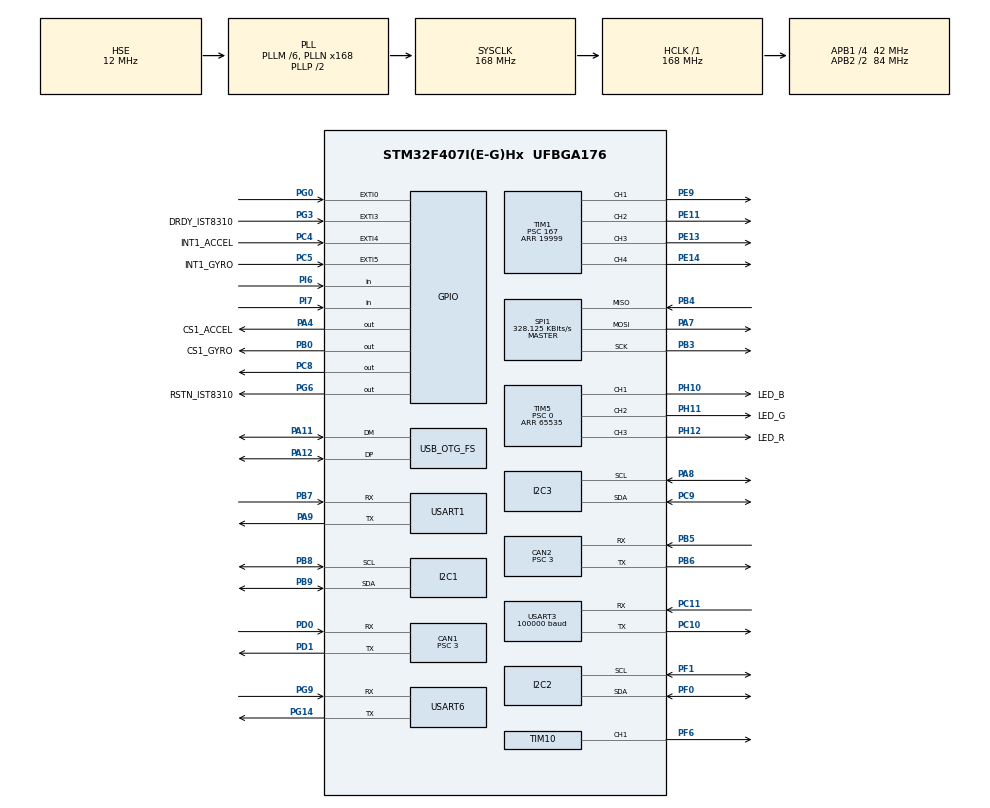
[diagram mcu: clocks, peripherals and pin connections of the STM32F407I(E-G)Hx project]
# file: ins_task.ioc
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CAN1.BS1=CAN_BS1_10TQ
CAN1.BS2=CAN_BS2_3TQ
CAN1.CalculateBaudRate=1000000
CAN1.CalculateTimeBit=1000
CAN1.CalculateTimeQuantum=71.42857142857143
CAN1.Prescaler=3
CAN2.BS1=CAN_BS1_10TQ
CAN2.BS2=CAN_BS2_3TQ
CAN2.CalculateBaudRate=1000000
CAN2.CalculateTimeBit=1000
CAN2.CalculateTimeQuantum=71.42857142857143
CAN2.Prescaler=3
Dma.I2C2_TX.6.Direction=DMA_MEMORY_TO_PERIPH
Dma.I2C2_TX.6.FIFOMode=DMA_FIFOMODE_DISABLE
Dma.I2C2_TX.6.Instance=DMA1_Stream7
Dma.I2C2_TX.6.MemDataAlignment=DMA_MDATAALIGN_BYTE
Dma.I2C2_TX.6.MemInc=DMA_MINC_ENABLE
Dma.I2C2_TX.6.Mode=DMA_NORMAL
Dma.I2C2_TX.6.PeriphDataAlignment=DMA_PDATAALIGN_BYTE
Dma.I2C2_TX.6.PeriphInc=DMA_PINC_DISABLE
Dma.I2C2_TX.6.Priority=DMA_PRIORITY_HIGH
Dma.Request0=SPI1_RX
Dma.Request1=SPI1_TX
Dma.Request2=USART1_TX
Dma.Request3=USART3_RX
Dma.Request4=USART6_RX
Dma.Request5=USART6_TX
Dma.Request6=I2C2_TX
Dma.Request7=USART1_RX
Dma.SPI1_RX.0.Direction=DMA_PERIPH_TO_MEMORY
Dma.SPI1_RX.0.FIFOMode=DMA_FIFOMODE_DISABLE
Dma.SPI1_RX.0.Instance=DMA2_Stream2
Dma.SPI1_RX.0.MemDataAlignment=DMA_MDATAALIGN_BYTE
Dma.SPI1_RX.0.MemInc=DMA_MINC_ENABLE
Dma.SPI1_RX.0.Mode=DMA_NORMAL
Dma.SPI1_RX.0.PeriphDataAlignment=DMA_PDATAALIGN_BYTE
Dma.SPI1_RX.0.PeriphInc=DMA_PINC_DISABLE
Dma.SPI1_RX.0.Priority=DMA_PRIORITY_VERY_HIGH
Dma.SPI1_TX.1.Direction=DMA_MEMORY_TO_PERIPH
Dma.SPI1_TX.1.FIFOMode=DMA_FIFOMODE_DISABLE
Dma.SPI1_TX.1.Instance=DMA2_Stream3
Dma.SPI1_TX.1.MemDataAlignment=DMA_MDATAALIGN_BYTE
Dma.SPI1_TX.1.MemInc=DMA_MINC_ENABLE
Dma.SPI1_TX.1.Mode=DMA_NORMAL
Dma.SPI1_TX.1.PeriphDataAlignment=DMA_PDATAALIGN_BYTE
Dma.SPI1_TX.1.PeriphInc=DMA_PINC_DISABLE
Dma.SPI1_TX.1.Priority=DMA_PRIORITY_HIGH
Dma.USART1_RX.7.Direction=DMA_PERIPH_TO_MEMORY
Dma.USART1_RX.7.FIFOMode=DMA_FIFOMODE_DISABLE
Dma.USART1_RX.7.Instance=DMA2_Stream5
Dma.USART1_RX.7.MemDataAlignment=DMA_MDATAALIGN_BYTE
Dma.USART1_RX.7.MemInc=DMA_MINC_ENABLE
Dma.USART1_RX.7.Mode=DMA_NORMAL
Dma.USART1_RX.7.PeriphDataAlignment=DMA_PDATAALIGN_BYTE
Dma.USART1_RX.7.PeriphInc=DMA_PINC_DISABLE
Dma.USART1_RX.7.Priority=DMA_PRIORITY_MEDIUM
Dma.USART1_TX.2.Direction=DMA_MEMORY_TO_PERIPH
Dma.USART1_TX.2.FIFOMode=DMA_FIFOMODE_DISABLE
Dma.USART1_TX.2.Instance=DMA2_Stream7
Dma.USART1_TX.2.MemDataAlignment=DMA_MDATAALIGN_BYTE
Dma.USART1_TX.2.MemInc=DMA_MINC_ENABLE
Dma.USART1_TX.2.Mode=DMA_NORMAL
Dma.USART1_TX.2.PeriphDataAlignment=DMA_PDATAALIGN_BYTE
Dma.USART1_TX.2.PeriphInc=DMA_PINC_DISABLE
Dma.USART1_TX.2.Priority=DMA_PRIORITY_MEDIUM
Dma.USART3_RX.3.Direction=DMA_PERIPH_TO_MEMORY
Dma.USART3_RX.3.FIFOMode=DMA_FIFOMODE_DISABLE
Dma.USART3_RX.3.Instance=DMA1_Stream1
Dma.USART3_RX.3.MemDataAlignment=DMA_MDATAALIGN_BYTE
Dma.USART3_RX.3.MemInc=DMA_MINC_ENABLE
Dma.USART3_RX.3.Mode=DMA_NORMAL
Dma.USART3_RX.3.PeriphDataAlignment=DMA_PDATAALIGN_BYTE
Dma.USART3_RX.3.PeriphInc=DMA_PINC_DISABLE
Dma.USART3_RX.3.Priority=DMA_PRIORITY_HIGH
Dma.USART6_RX.4.Direction=DMA_PERIPH_TO_MEMORY
Dma.USART6_RX.4.FIFOMode=DMA_FIFOMODE_DISABLE
Dma.USART6_RX.4.Instance=DMA2_Stream1
Dma.USART6_RX.4.MemDataAlignment=DMA_MDATAALIGN_BYTE
Dma.USART6_RX.4.MemInc=DMA_MINC_ENABLE
Dma.USART6_RX.4.Mode=DMA_NORMAL
Dma.USART6_RX.4.PeriphDataAlignment=DMA_PDATAALIGN_BYTE
Dma.USART6_RX.4.PeriphInc=DMA_PINC_DISABLE
Dma.USART6_RX.4.Priority=DMA_PRIORITY_HIGH
Dma.USART6_TX.5.Direction=DMA_MEMORY_TO_PERIPH
Dma.USART6_TX.5.FIFOMode=DMA_FIFOMODE_DISABLE
Dma.USART6_TX.5.Instance=DMA2_Stream6
Dma.USART6_TX.5.MemDataAlignment=DMA_MDATAALIGN_BYTE
Dma.USART6_TX.5.MemInc=DMA_MINC_ENABLE
Dma.USART6_TX.5.Mode=DMA_NORMAL
Dma.USART6_TX.5.PeriphDataAlignment=DMA_PDATAALIGN_BYTE
Dma.USART6_TX.5.PeriphInc=DMA_PINC_DISABLE
Dma.USART6_TX.5.Priority=DMA_PRIORITY_MEDIUM
FREERTOS.INCLUDE_eTaskGetState=1
FREERTOS.INCLUDE_pcTaskGetTaskName=1
FREERTOS.INCLUDE_uxTaskGetStackHighWaterMark=1
FREERTOS.INCLUDE_vTaskCleanUpResources=1
FREERTOS.INCLUDE_vTaskDelayUntil=1
FREERTOS.INCLUDE_xEventGroupSetBitFromISR=1
FREERTOS.INCLUDE_xQueueGetMutexHolder=1
FREERTOS.INCLUDE_xSemaphoreGetMutexHolder=1
FREERTOS.INCLUDE_xTaskAbortDelay=1
FREERTOS.INCLUDE_xTaskGetCurrentTaskHandle=1
FREERTOS.INCLUDE_xTaskGetHandle=1
FREERTOS.INCLUDE_xTimerPendFunctionCall=1
FREERTOS.Tasks01=test,24,128,test_task,As weak,NULL,Dynamic,NULL,NULL
FREERTOS.configTOTAL_HEAP_SIZE=24576
I2C1.I2C_Mode=I2C_Fast
I2C2.I2C_Mode=I2C_Fast
I2C3.I2C_Mode=I2C_Fast
Mcu.Family=STM32F4
Mcu.Name=STM32F407I(E-G)Hx
Mcu.Package=UFBGA176
NVIC.CAN1_RX0_IRQn=true\:5\:0\:false\:false\:true\:true\:true\:true\:true
NVIC.CAN2_RX0_IRQn=true\:5\:0\:false\:false\:true\:true\:true\:true\:true
NVIC.DMA1_Stream1_IRQn=true\:5\:0\:false\:false\:true\:true\:false\:true\:true
NVIC.DMA1_Stream7_IRQn=true\:5\:0\:false\:false\:true\:true\:false\:true\:true
NVIC.DMA2_Stream1_IRQn=true\:5\:0\:false\:false\:true\:true\:false\:true\:true
NVIC.DMA2_Stream2_IRQn=true\:5\:0\:true\:false\:false\:true\:false\:true\:true
NVIC.DMA2_Stream3_IRQn=true\:5\:0\:true\:false\:false\:true\:false\:true\:true
NVIC.DMA2_Stream5_IRQn=true\:5\:0\:false\:false\:true\:true\:false\:true\:true
NVIC.DMA2_Stream6_IRQn=true\:5\:0\:false\:false\:true\:true\:false\:true\:true
NVIC.DMA2_Stream7_IRQn=true\:5\:0\:false\:false\:true\:true\:false\:true\:true
NVIC.EXTI0_IRQn=true\:6\:0\:true\:false\:true\:true\:true\:true\:true
NVIC.EXTI3_IRQn=true\:5\:0\:true\:false\:true\:true\:true\:true\:true
NVIC.EXTI4_IRQn=true\:5\:0\:true\:false\:true\:true\:true\:true\:true
NVIC.EXTI9_5_IRQn=true\:5\:0\:true\:false\:true\:true\:true\:true\:true
NVIC.OTG_FS_IRQn=true\:5\:0\:false\:false\:true\:true\:true\:true\:true
NVIC.PriorityGroup=NVIC_PRIORITYGROUP_4
NVIC.TIM8_TRG_COM_TIM14_IRQn=true\:15\:0\:false\:false\:true\:false\:false\:true\:true
NVIC.TimeBase=TIM8_TRG_COM_TIM14_IRQn
NVIC.TimeBaseIP=TIM14
NVIC.USART1_IRQn=true\:5\:0\:false\:false\:true\:true\:true\:true\:true
NVIC.USART3_IRQn=true\:5\:0\:false\:false\:true\:true\:true\:true\:true
NVIC.USART6_IRQn=true\:5\:0\:false\:false\:true\:true\:true\:true\:true
PA11.Mode=Device_Only
PA11.Signal=USB_OTG_FS_DM
PA12.Mode=Device_Only
PA12.Signal=USB_OTG_FS_DP
PA13.Mode=Serial_Wire
PA13.Signal=SYS_JTMS-SWDIO
PA14.Mode=Serial_Wire
PA14.Signal=SYS_JTCK-SWCLK
PA4.GPIO_Label=CS1_ACCEL
PA4.GPIO_PuPd=GPIO_PULLUP
PA4.GPIO_Speed=GPIO_SPEED_FREQ_HIGH
PA4.PinState=GPIO_PIN_SET
PA4.Signal=GPIO_Output
PA7.GPIO_PuPd=GPIO_PULLUP
PA7.Mode=Full_Duplex_Master
PA7.Signal=SPI1_MOSI
PA8.GPIO_Pu=GPIO_PULLUP
PA8.Mode=I2C
PA8.Signal=I2C3_SCL
PA9.Mode=Asynchronous
PA9.Signal=USART1_TX
PB0.GPIO_Label=CS1_GYRO
PB0.GPIO_PuPd=GPIO_PULLUP
PB0.GPIO_Speed=GPIO_SPEED_FREQ_HIGH
PB0.PinState=GPIO_PIN_SET
PB0.Signal=GPIO_Output
PB3.GPIO_PuPd=GPIO_PULLUP
PB3.Mode=Full_Duplex_Master
PB3.Signal=SPI1_SCK
PB4.GPIO_PuPd=GPIO_PULLUP
PB4.Mode=Full_Duplex_Master
PB4.Signal=SPI1_MISO
PB5.Mode=CAN_Activate
PB5.Signal=CAN2_RX
PB6.Mode=CAN_Activate
PB6.Signal=CAN2_TX
PB7.Mode=Asynchronous
PB7.Signal=USART1_RX
PB8.GPIO_Pu=GPIO_PULLUP
PB8.Mode=I2C
PB8.Signal=I2C1_SCL
PB9.GPIO_Pu=GPIO_PULLUP
PB9.Mode=I2C
PB9.Signal=I2C1_SDA
PC10.Mode=Asynchronous
PC10.Signal=USART3_TX
PC11.Mode=Asynchronous
PC11.Signal=USART3_RX
PC4.GPIO_Label=INT1_ACCEL
PC4.GPIO_ModeDefaultEXTI=GPIO_MODE_IT_FALLING
PC4.GPIO_PuPd=GPIO_PULLUP
PC4.Signal=GPXTI4
PC5.GPIO_Label=INT1_GYRO
PC5.GPIO_ModeDefaultEXTI=GPIO_MODE_IT_FALLING
PC5.GPIO_PuPd=GPIO_PULLUP
PC5.Signal=GPXTI5
PC8.Signal=GPIO_Output
PC9.GPIO_Pu=GPIO_PULLUP
PC9.Mode=I2C
PC9.Signal=I2C3_SDA
PD0.Mode=CAN_Activate
PD0.Signal=CAN1_RX
PD1.Mode=CAN_Activate
PD1.Signal=CAN1_TX
PE11.GPIO_Speed=GPIO_SPEED_FREQ_HIGH
PE11.Signal=S_TIM1_CH2
PE13.Signal=S_TIM1_CH3
PE14.Signal=S_TIM1_CH4
PE9.GPIO_Speed=GPIO_SPEED_FREQ_HIGH
PE9.Signal=S_TIM1_CH1
PF0.GPIO_Pu=GPIO_PULLUP
PF0.Mode=I2C
PF0.Signal=I2C2_SDA
PF1.GPIO_Pu=GPIO_PULLUP
PF1.Mode=I2C
PF1.Signal=I2C2_SCL
PF6.GPIO_PuPd=GPIO_PULLUP
PF6.GPIO_Speed=GPIO_SPEED_FREQ_HIGH
PF6.Signal=S_TIM10_CH1
PG0.GPIO_ModeDefaultEXTI=GPIO_MODE_IT_FALLING
PG0.GPIO_PuPd=GPIO_PULLUP
PG0.Signal=GPXTI0
PG14.Mode=Asynchronous
PG14.Signal=USART6_TX
PG3.GPIO_Label=DRDY_IST8310
PG3.GPIO_ModeDefaultEXTI=GPIO_MODE_IT_FALLING
PG3.GPIO_PuPd=GPIO_PULLUP
PG3.Signal=GPXTI3
PG6.GPIO_Label=RSTN_IST8310
PG6.GPIO_PuPd=GPIO_PULLUP
PG6.GPIO_Speed=GPIO_SPEED_FREQ_MEDIUM
PG6.PinState=GPIO_PIN_SET
PG6.Signal=GPIO_Output
PG9.Mode=Asynchronous
PG9.Signal=USART6_RX
PH0-OSC_IN.Mode=HSE-External-Oscillator
PH0-OSC_IN.Signal=RCC_OSC_IN
PH1-OSC_OUT.Mode=HSE-External-Oscillator
PH1-OSC_OUT.Signal=RCC_OSC_OUT
PH10.GPIO_Label=LED_B
PH10.GPIO_PuPd=GPIO_PULLUP
PH10.GPIO_Speed=GPIO_SPEED_FREQ_HIGH
PH10.Signal=S_TIM5_CH1
PH11.GPIO_Label=LED_G
PH11.GPIO_PuPd=GPIO_PULLUP
PH11.GPIO_Speed=GPIO_SPEED_FREQ_HIGH
PH11.Signal=S_TIM5_CH2
PH12.GPIO_Label=LED_R
PH12.GPIO_PuPd=GPIO_PULLUP
PH12.GPIO_Speed=GPIO_SPEED_FREQ_HIGH
PH12.Signal=S_TIM5_CH3
PI6.GPIO_PuPd=GPIO_PULLDOWN
PI6.Signal=GPIO_Input
PI7.GPIO_PuPd=GPIO_PULLDOWN
PI7.Signal=GPIO_Input
ProjectManager.HeapSize=0x2000
ProjectManager.StackSize=0x2000
ProjectManager.TargetToolchain=MDK-ARM V5
RCC.48MHZClocksFreq_Value=48000000
RCC.AHBFreq_Value=168000000
RCC.APB1CLKDivider=RCC_HCLK_DIV4
RCC.APB1Freq_Value=42000000
RCC.APB1TimFreq_Value=84000000
RCC.APB2CLKDivider=RCC_HCLK_DIV2
RCC.APB2Freq_Value=84000000
RCC.APB2TimFreq_Value=168000000
RCC.CortexFreq_Value=168000000
RCC.HCLKFreq_Value=168000000
RCC.HSE_VALUE=12000000
RCC.HSI_VALUE=16000000
RCC.LSE_VALUE=32768
RCC.PLLM=6
RCC.PLLN=168
RCC.PLLQ=7
RCC.RCC_RTC_Clock_SourceVirtual=RCC_RTCCLKSOURCE_HSE_DIV30
RCC.RCC_RTC_Clock_Source_FROM_HSE=RCC_RTCCLKSOURCE_HSE_DIV30
RCC.SYSCLKFreq_VALUE=168000000
RCC.SYSCLKSource=RCC_SYSCLKSOURCE_PLLCLK
RCC.VCOOutputFreq_Value=336000000
SH.S_TIM10_CH1.0=TIM10_CH1,PWM Generation1 CH1
SH.S_TIM1_CH1.0=TIM1_CH1,PWM Generation1 CH1
SH.S_TIM1_CH2.0=TIM1_CH2,PWM Generation2 CH2
SH.S_TIM1_CH3.0=TIM1_CH3,PWM Generation3 CH3
SH.S_TIM1_CH4.0=TIM1_CH4,PWM Generation4 CH4
SH.S_TIM5_CH1.0=TIM5_CH1,PWM Generation1 CH1
SH.S_TIM5_CH2.0=TIM5_CH2,PWM Generation2 CH2
SH.S_TIM5_CH3.0=TIM5_CH3,PWM Generation3 CH3
SPI1.BaudRatePrescaler=SPI_BAUDRATEPRESCALER_256
SPI1.CLKPhase=SPI_PHASE_2EDGE
SPI1.CLKPolarity=SPI_POLARITY_HIGH
SPI1.CalculateBaudRate=328.125 KBits/s
SPI1.Direction=SPI_DIRECTION_2LINES
SPI1.Mode=SPI_MODE_MASTER
SPI1.VirtualType=VM_MASTER
TIM1.Channel-PWM\ Generation1\ CH1=TIM_CHANNEL_1
TIM1.Channel-PWM\ Generation2\ CH2=TIM_CHANNEL_2
TIM1.Channel-PWM\ Generation3\ CH3=TIM_CHANNEL_3
TIM1.Channel-PWM\ Generation4\ CH4=TIM_CHANNEL_4
TIM1.Period=19999
TIM1.Prescaler=167
TIM1.Pulse-PWM\ Generation1\ CH1=1000
TIM1.Pulse-PWM\ Generation2\ CH2=1000
TIM1.Pulse-PWM\ Generation3\ CH3=1000
TIM1.Pulse-PWM\ Generation4\ CH4=1000
TIM10.Channel=TIM_CHANNEL_1
TIM10.Period=4999
TIM5.Channel-PWM\ Generation1\ CH1=TIM_CHANNEL_1
TIM5.Channel-PWM\ Generation2\ CH2=TIM_CHANNEL_2
TIM5.Channel-PWM\ Generation3\ CH3=TIM_CHANNEL_3
TIM5.Period=65535
TIM5.Prescaler=0
USART1.VirtualMode=VM_ASYNC
USART3.BaudRate=100000
USART3.Parity=PARITY_EVEN
USART3.VirtualMode=VM_ASYNC
USART6.VirtualMode=VM_ASYNC
USB_DEVICE.CLASS_NAME_FS=CDC
USB_DEVICE.VirtualMode-CDC_FS=Cdc
USB_DEVICE.VirtualModeFS=Cdc_FS
USB_OTG_FS.VirtualMode=Device_Only
VP_CRC_VS_CRC.Mode=CRC_Activate
VP_FREERTOS_VS_CMSIS_V1.Mode=CMSIS_V1
VP_SYS_VS_tim14.Mode=TIM14
VP_TIM10_VS_ClockSourceINT.Mode=Enable_Timer
VP_TIM5_VS_ClockSourceINT.Mode=Internal
VP_USB_DEVICE_VS_USB_DEVICE_CDC_FS.Mode=CDC_FS
board=custom

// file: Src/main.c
/* USER CODE BEGIN Header */
/**
  ******************************************************************************
  * @file           : main.c
  * @brief          : Main program body
  ******************************************************************************
  * @attention
  *
  * <h2><center>&copy; Copyright (c) 2019 STMicroelectronics.
  * All rights reserved.</center></h2>
  *
  * This software component is licensed by ST under Ultimate Liberty license
  * SLA0044, the "License"; You may not use this file except in compliance with
  * the License. You may obtain a copy of the License at:
  *                             www.st.com/SLA0044
  *
  ******************************************************************************
  */
/* USER CODE END Header */
#include "main.h"
#include "cmsis_os.h"
#include "can.h"
#include "crc.h"
#include "dma.h"
#include "i2c.h"
#include "spi.h"
#include "tim.h"
#include "usart.h"
#include "usb_device.h"
#include "gpio.h"
#include "usb_device.h"

/* USER CODE BEGIN Includes */
#include "bsp_delay.h"
#include "INS_task.h"
#include "bsp_can.h"
#include "CAN_receive.h"
#include "pid.h"
#include "MOTOR_ANGLE_PID.h"
#include "remote_control.h"
#include "bsp_usart.h"
#include "referee.h"

/* USER CODE END Includes */

/* USER CODE BEGIN PTD */
//typedef struct
//{
//  const fp32 *chassis_INS_angle;
//}chassis_move_t;
//
//chassis_move_t *chassis_move_init;
/* USER CODE END PTD */

void SystemClock_Config(void);
void MX_FREERTOS_Init(void);

int main(void)
{

  /* MCU Configuration--------------------------------------------------------*/

  /* Reset of all peripherals, Initializes the Flash interface and the Systick. */
  HAL_Init();

  /* Configure the system clock */
  SystemClock_Config();

  /* Initialize all configured peripherals */
  MX_GPIO_Init();
  MX_DMA_Init();
  MX_SPI1_Init();
  MX_TIM5_Init();
  MX_I2C3_Init();
  MX_TIM10_Init();
  MX_CAN1_Init();
  MX_CAN2_Init();
  MX_USART1_UART_Init();
  MX_USART3_UART_Init();
  MX_USART6_UART_Init();
  MX_I2C1_Init();
  MX_I2C2_Init();
  MX_CRC_Init();
  MX_TIM1_Init();
  /* USER CODE BEGIN 2 */
    delay_init();
		can_filter_init();
		remote_control_init();

	/* ���������ж� */
	__HAL_UART_ENABLE_IT(&huart6, UART_IT_IDLE);
	HAL_UART_Receive_DMA(&huart6, referee_buff, 256);

  /* USER CODE END 2 */

  /* Call init function for freertos objects (in freertos.c) */
  MX_FREERTOS_Init();
  /* Start scheduler */
  osKernelStart();

  /* We should never get here as control is now taken by the scheduler */
  /* Infinite loop */
  while (1)
  {

    /* USER CODE BEGIN 3 */
		__HAL_TIM_SET_COMPARE(&htim1,TIM_CHANNEL_2,1000);

	}
  /* USER CODE END 3 */
}

void SystemClock_Config(void)
{
  RCC_OscInitTypeDef RCC_OscInitStruct = {0};
  RCC_ClkInitTypeDef RCC_ClkInitStruct = {0};

  /** Configure the main internal regulator output voltage
  */
  __HAL_RCC_PWR_CLK_ENABLE();
  __HAL_PWR_VOLTAGESCALING_CONFIG(PWR_REGULATOR_VOLTAGE_SCALE1);
  /** Initializes the RCC Oscillators according to the specified parameters
  * in the RCC_OscInitTypeDef structure.
  */
  RCC_OscInitStruct.OscillatorType = RCC_OSCILLATORTYPE_HSE;
  RCC_OscInitStruct.HSEState = RCC_HSE_ON;
  RCC_OscInitStruct.PLL.PLLState = RCC_PLL_ON;
  RCC_OscInitStruct.PLL.PLLSource = RCC_PLLSOURCE_HSE;
  RCC_OscInitStruct.PLL.PLLM = 6;
  RCC_OscInitStruct.PLL.PLLN = 168;
  RCC_OscInitStruct.PLL.PLLP = RCC_PLLP_DIV2;
  RCC_OscInitStruct.PLL.PLLQ = 7;
  if (HAL_RCC_OscConfig(&RCC_OscInitStruct) != HAL_OK)
  {
    Error_Handler();
  }
  /** Initializes the CPU, AHB and APB buses clocks
  */
  RCC_ClkInitStruct.ClockType = RCC_CLOCKTYPE_HCLK|RCC_CLOCKTYPE_SYSCLK
                              |RCC_CLOCKTYPE_PCLK1|RCC_CLOCKTYPE_PCLK2;
  RCC_ClkInitStruct.SYSCLKSource = RCC_SYSCLKSOURCE_PLLCLK;
  RCC_ClkInitStruct.AHBCLKDivider = RCC_SYSCLK_DIV1;
  RCC_ClkInitStruct.APB1CLKDivider = RCC_HCLK_DIV4;
  RCC_ClkInitStruct.APB2CLKDivider = RCC_HCLK_DIV2;

  if (HAL_RCC_ClockConfig(&RCC_ClkInitStruct, FLASH_LATENCY_5) != HAL_OK)
  {
    Error_Handler();
  }
}

void HAL_TIM_PeriodElapsedCallback(TIM_HandleTypeDef *htim)
{
  if (htim->Instance == TIM14) {
    HAL_IncTick();
  }
}

void Error_Handler(void)
{
}

/************************ (C) COPYRIGHT STMicroelectronics *****END OF FILE****/

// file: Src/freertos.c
/* USER CODE BEGIN Header */
/**
  ******************************************************************************
  * File Name          : freertos.c
  * Description        : Code for freertos applications
  ******************************************************************************
  * @attention
  *
  * <h2><center>&copy; Copyright (c) 2019 STMicroelectronics.
  * All rights reserved.</center></h2>
  *
  * This software component is licensed by ST under Ultimate Liberty license
  * SLA0044, the "License"; You may not use this file except in compliance with
  * the License. You may obtain a copy of the License at:
  *                             www.st.com/SLA0044
  *
  ******************************************************************************
  */
/* USER CODE END Header */

#include "FreeRTOS.h"
#include "task.h"
#include "main.h"
#include "cmsis_os.h"

/* USER CODE BEGIN Includes */

#include "INS_task.h"
#include "led_flow_task.h"
#include "chassic_task.h"
#include "gimbal_task.h"
#include "shoot_task.h"
#include "usb_task.h"
#include "ui_task.h"
/* USER CODE END Includes */

/* USER CODE BEGIN PTD */

osThreadId imuTaskHandle;
osThreadId led_RGB_flow_handle;
/* USER CODE END PTD */

/* USER CODE BEGIN PD */
osThreadId chassicHandle;
osThreadId gambalHandle;
osThreadId shootHandle;
osThreadId usb_task_handle;
osThreadId ui_task_handle;

/* USER CODE END PD */

osThreadId testHandle;

void test_task(void const * argument);

extern void MX_USB_DEVICE_Init(void);
void MX_FREERTOS_Init(void); /* (MISRA C 2004 rule 8.1) */

/* GetIdleTaskMemory prototype (linked to static allocation support) */
void vApplicationGetIdleTaskMemory( StaticTask_t **ppxIdleTaskTCBBuffer, StackType_t **ppxIdleTaskStackBuffer, uint32_t *pulIdleTaskStackSize );

/* GetTimerTaskMemory prototype (linked to static allocation support) */
void vApplicationGetTimerTaskMemory( StaticTask_t **ppxTimerTaskTCBBuffer, StackType_t **ppxTimerTaskStackBuffer, uint32_t *pulTimerTaskStackSize );

/* USER CODE BEGIN GET_IDLE_TASK_MEMORY */
static StaticTask_t xIdleTaskTCBBuffer;
static StackType_t xIdleStack[configMINIMAL_STACK_SIZE];

void vApplicationGetIdleTaskMemory( StaticTask_t **ppxIdleTaskTCBBuffer, StackType_t **ppxIdleTaskStackBuffer, uint32_t *pulIdleTaskStackSize )
{
  *ppxIdleTaskTCBBuffer = &xIdleTaskTCBBuffer;
  *ppxIdleTaskStackBuffer = &xIdleStack[0];
  *pulIdleTaskStackSize = configMINIMAL_STACK_SIZE;
  /* place for user code */
}
/* USER CODE END GET_IDLE_TASK_MEMORY */

/* USER CODE BEGIN GET_TIMER_TASK_MEMORY */
static StaticTask_t xTimerTaskTCBBuffer;
static StackType_t xTimerStack[configTIMER_TASK_STACK_DEPTH];

void vApplicationGetTimerTaskMemory( StaticTask_t **ppxTimerTaskTCBBuffer, StackType_t **ppxTimerTaskStackBuffer, uint32_t *pulTimerTaskStackSize )
{
  *ppxTimerTaskTCBBuffer = &xTimerTaskTCBBuffer;
  *ppxTimerTaskStackBuffer = &xTimerStack[0];
  *pulTimerTaskStackSize = configTIMER_TASK_STACK_DEPTH;
  /* place for user code */
}
/* USER CODE END GET_TIMER_TASK_MEMORY */

void MX_FREERTOS_Init(void) {

  /* Create the thread(s) */
  /* definition and creation of test */
  osThreadDef(test, test_task, osPriorityNormal, 0, 128);
  testHandle = osThreadCreate(osThread(test), NULL);

  /* USER CODE BEGIN RTOS_THREADS */
  /* add threads, ... */
	osThreadDef(imuTask, INS_task, osPriorityRealtime, 0, 1024);
	imuTaskHandle = osThreadCreate(osThread(imuTask), NULL);

	osThreadDef(led, led_RGB_flow_task, osPriorityNormal, 0, 256);
	led_RGB_flow_handle = osThreadCreate(osThread(led), NULL);

	osThreadDef(gimbalTask, gimbal_task, osPriorityRealtime, 0, 1024);
  gambalHandle = osThreadCreate(osThread(gimbalTask), NULL);

	osThreadDef(shoot, shoot_task, osPriorityNormal, 0, 128);
  shootHandle = osThreadCreate(osThread(shoot), NULL);

	osThreadDef(USBTask, usb_task, osPriorityNormal, 0, 1024);
	usb_task_handle = osThreadCreate(osThread(USBTask), NULL);

//	osThreadDef(UITask, ui_task, osPriorityNormal, 0, 256);
//	ui_task_handle = osThreadCreate(osThread(UITask), NULL);

  /* USER CODE END RTOS_THREADS */

}

__weak void test_task(void const * argument)
{
  /* init code for USB_DEVICE */
  MX_USB_DEVICE_Init();
  for(;;)
  {
    osDelay(1);
  }
}

/************************ (C) COPYRIGHT STMicroelectronics *****END OF FILE****/
